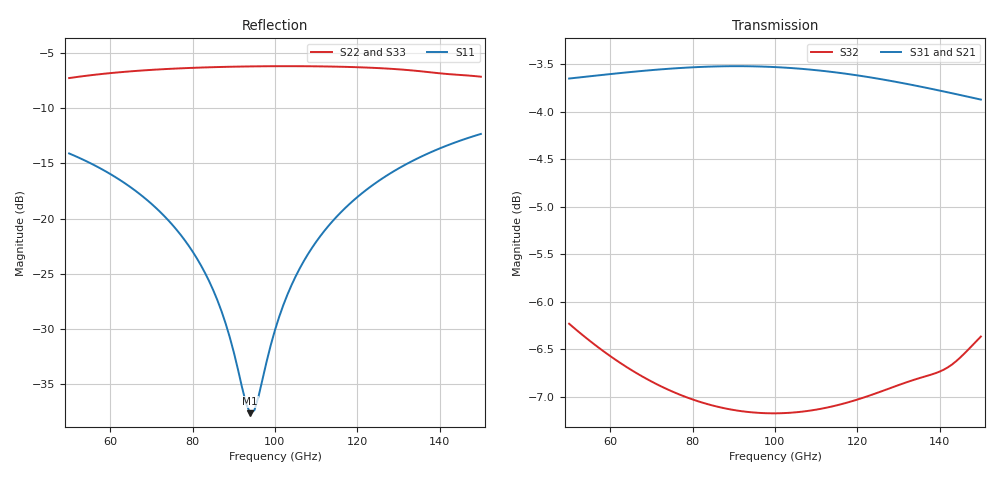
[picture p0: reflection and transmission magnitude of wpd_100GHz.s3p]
#  GHZ S DB R 50
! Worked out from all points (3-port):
!   101 points, 50 GHz to 150 GHz, reference 50 ohm
!   strongest paths, dB at 50 GHz, 75 GHz, 100 GHz, 125 GHz, 150 GHz:
!     S31: -3.6, -3.5, -3.5, -3.6, -3.9
!     S21: -3.7, -3.5, -3.5, -3.7, -3.9
!     S32: -6.2, -6.9, -7.2, -7.0, -6.4
!   lowest |S11| = -37.6 dB at 94 GHz (marker M1), VSWR 1.03, Z = 51.3 + j0.174 ohm
!   |S11| at or under -10 dB: start of sweep to end of sweep
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50  -14.11 129.9  -3.65 -44.8  -3.65 -44.8
    -3.65 -44.8  -7.29 47.7  -6.23 -98.7
    -3.65 -44.8  -6.23 -98.7  -7.30 47.6
67  -17.74 111.9  -3.58 -60.5  -3.57 -60.5
    -3.58 -60.5  -6.63 26.7  -6.77 -127.3
    -3.57 -60.5  -6.77 -127.3  -6.64 26.7
79  -22.44 96.2  -3.54 -71.8  -3.53 -71.8
    -3.54 -71.8  -6.38 14.3  -7.01 -146.9
    -3.53 -71.8  -7.01 -146.9  -6.40 14.2
87  -28.38 78.4  -3.53 -79.4  -3.52 -79.4
    -3.53 -79.4  -6.29 6.6  -7.11 -159.8
    -3.52 -79.4  -7.11 -159.8  -6.31 6.5
94  -37.63 7.4  -3.53 -86.1  -3.52 -86.1
    -3.53 -86.1  -6.24 0.1  -7.16 -171.1
    -3.52 -86.1  -7.16 -171.1  -6.27 0.1
96  -36.11 -33.6  -3.53 -88.0  -3.52 -88.0
    -3.53 -88.0  -6.23 -1.7  -7.17 -174.3
    -3.52 -88.0  -7.17 -174.3  -6.26 -1.8
100  -30.09 -69.4  -3.54 -91.8  -3.53 -91.8
     -3.54 -91.8  -6.22 -5.4  -7.17 179.2
     -3.53 -91.8  -7.17 179.2  -6.25 -5.4
107  -23.85 -89.1  -3.56 -98.5  -3.55 -98.5
     -3.56 -98.5  -6.22 -11.8  -7.15 167.9
     -3.55 -98.5  -7.15 167.9  -6.25 -11.9
117  -19.07 -103.7  -3.61 -108.0  -3.60 -108.1
     -3.61 -108.0  -6.28 -21.3  -7.07 151.6
     -3.60 -108.1  -7.07 151.6  -6.32 -21.3
150  -12.35 -138.1  -3.88 -138.7  -3.87 -138.8
     -3.88 -138.7  -7.17 -57.5  -6.36 96.6
     -3.87 -138.8  -6.36 96.6  -7.22 -57.6
